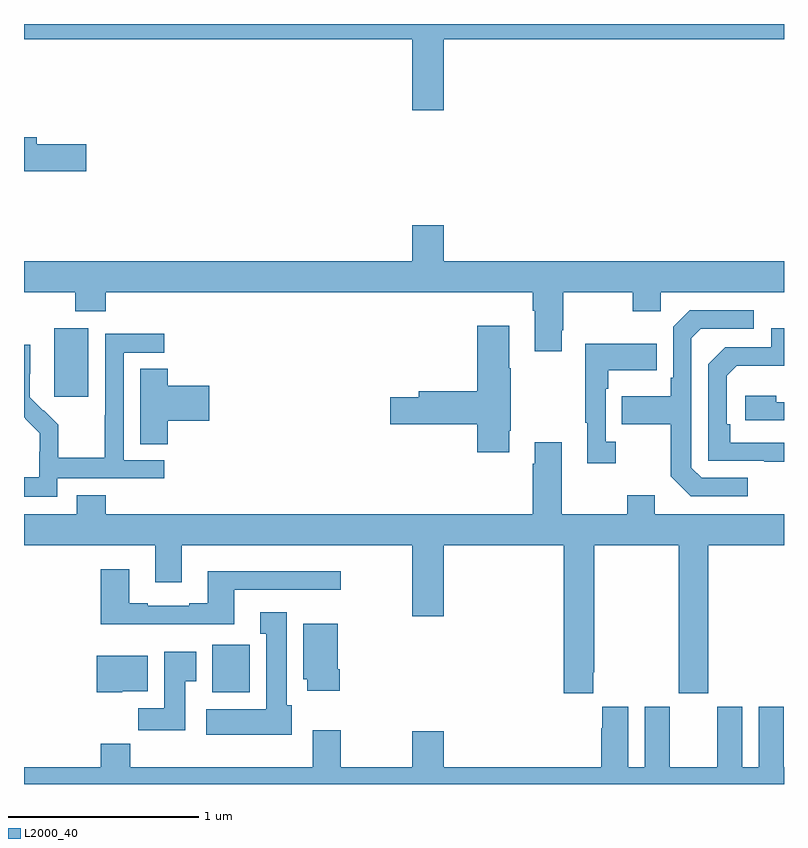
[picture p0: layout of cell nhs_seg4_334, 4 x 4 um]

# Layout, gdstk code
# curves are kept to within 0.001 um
import gdstk
lib = gdstk.Library(unit=1e-6, precision=1e-09)
def R(c, l, rs):  # rectangles x0, y0, x1, y1
    for r in rs: c.add(gdstk.rectangle(r[:2], r[2:], *l))
def P(c, l, *ps):  # polygons
    for p in ps: c.add(gdstk.Polygon(p, *l))
L2000_40 = (2000, 40)

nhs_seg4_334 = lib.new_cell('nhs_seg4_334')
R(nhs_seg4_334, L2000_40, [(127.991,793.382,128.187,793.633), (127.16,794.937,127.339,795.298)])
P(nhs_seg4_334, L2000_40, [(129.208,796.82),(131,796.82),(131,796.9),(127,796.9),(127,796.82),(129.044,796.82),(129.044,796.446),(129.208,796.446)],
  [(127.327,796.268),(127.066,796.268),(127.066,796.304),(127,796.304),(127,796.126),(127.327,796.126)],
  [(127,795.488),(127.27,795.488),(127.27,795.389),(127.43,795.389),(127.43,795.488),(129.677,795.488),(129.677,795.392),(129.689,795.392),(129.689,795.177),(129.829,795.177),(129.829,795.289),(129.837,795.289),(129.837,795.488),(130.204,795.488),(130.204,795.389),(130.35,795.389),(130.35,795.488),(131,795.488),(131,795.652),(129.208,795.652),(129.208,795.841),(129.044,795.841),(129.044,795.652),(127,795.652)],
  [(130.81,794.511),(130.566,794.511),(130.512,794.565),(130.512,795.246),(130.563,795.297),(130.84,795.297),(130.84,795.393),(130.503,795.393),(130.416,795.306),(130.416,795.037),(130.404,795.037),(130.404,794.941),(130.147,794.941),(130.147,794.794),(130.404,794.794),(130.404,794.521),(130.509,794.415),(130.81,794.415)],
  [(129.553,794.758),(129.561,794.758),(129.561,795.089),(129.553,795.089),(129.553,795.313),(129.386,795.313),(129.386,794.966),(129.077,794.966),(129.077,794.936),(128.928,794.936),(128.928,794.794),(129.386,794.794),(129.386,794.646),(129.553,794.646)],
  [(131,794.697),(130.718,794.697),(130.718,794.794),(130.698,794.794),(130.698,795.048),(130.751,795.101),(131,795.101),(131,795.3),(130.932,795.3),(130.932,795.198),(130.692,795.198),(130.602,795.108),(130.602,794.601),(130.897,794.601),(130.897,794.596),(131,794.596)],
  [(127.176,794.508),(127.738,794.508),(127.738,794.604),(127.524,794.604),(127.524,795.171),(127.738,795.171),(127.738,795.27),(127.428,795.27),(127.428,794.84),(127.426,794.84),(127.426,794.617),(127.181,794.617),(127.181,794.791),(127.104,794.868),(127.101,794.865),(127.031,794.936),(127.032,795.212),(127,795.212),(127,794.83),(127.009,794.821),(127.008,794.82),(127.082,794.746),(127.082,794.649),(127.08,794.649),(127.08,794.515),(127,794.515),(127,794.411),(127.176,794.411)],
  [(130.114,794.702),(130.062,794.702),(130.062,794.981),(130.075,794.981),(130.075,795.077),(130.331,795.077),(130.331,795.217),(129.954,795.217),(129.954,794.801),(129.965,794.801),(129.965,794.589),(130.114,794.589)],
  [(127.757,794.813),(127.975,794.813),(127.975,794.996),(127.757,794.996),(127.757,795.086),(127.613,795.086),(127.613,794.689),(127.757,794.689)],
  [(131,794.91),(130.958,794.91),(130.958,794.944),(130.797,794.944),(130.797,794.814),(131,794.814)],
  [(129.997,793.489),(130.002,793.489),(130.002,794.156),(130.447,794.156),(130.447,793.377),(130.602,793.377),(130.602,794.156),(131,794.156),(131,794.32),(130.321,794.32),(130.321,794.419),(130.174,794.419),(130.174,794.32),(129.829,794.32),(129.829,794.698),(129.689,794.698),(129.689,794.585),(129.677,794.585),(129.677,794.32),(127.43,794.32),(127.43,794.419),(127.277,794.419),(127.277,794.32),(127,794.32),(127,794.156),(127.691,794.156),(127.691,793.962),(127.831,793.962),(127.831,794.156),(129.044,794.156),(129.044,793.782),(129.208,793.782),(129.208,794.156),(129.842,794.156),(129.842,793.377),(129.997,793.377)],
  [(128.107,793.923),(128.668,793.923),(128.668,794.02),(127.967,794.02),(127.967,793.852),(127.871,793.852),(127.871,793.839),(127.651,793.839),(127.651,793.852),(127.555,793.852),(127.555,794.029),(127.403,794.029),(127.403,793.742),(128.107,793.742)],
  [(128.41,793.314),(128.383,793.314),(128.383,793.804),(128.243,793.804),(128.243,793.691),(128.276,793.691),(128.276,793.294),(127.959,793.294),(127.959,793.16),(128.41,793.16)],
  [(128.663,793.504),(128.65,793.504),(128.65,793.744),(128.471,793.744),(128.471,793.452),(128.492,793.452),(128.492,793.392),(128.663,793.392)],
  [(127.849,793.441),(127.906,793.441),(127.906,793.597),(127.739,793.597),(127.739,793.3),(127.6,793.3),(127.6,793.182),(127.849,793.182)],
  [(127.518,793.388),(127.651,793.388),(127.651,793.576),(127.382,793.576),(127.382,793.382),(127.518,793.382)],
  [(131,792.988),(130.999,792.988),(130.999,793.306),(130.868,793.306),(130.868,792.988),(130.78,792.988),(130.78,793.306),(130.649,793.306),(130.649,792.988),(130.399,792.988),(130.399,793.306),(130.268,793.306),(130.268,792.988),(130.18,792.988),(130.18,793.306),(130.043,793.306),(130.043,793.193),(130.037,793.193),(130.037,792.988),(129.208,792.988),(129.208,793.177),(129.044,793.177),(129.044,792.988),(128.667,792.988),(128.667,793.183),(128.519,793.183),(128.519,792.988),(127.559,792.988),(127.559,793.112),(127.403,793.112),(127.403,792.988),(127,792.988),(127,792.9),(131,792.9)])

lib.write_gds('nhs_seg4_334.gds')
